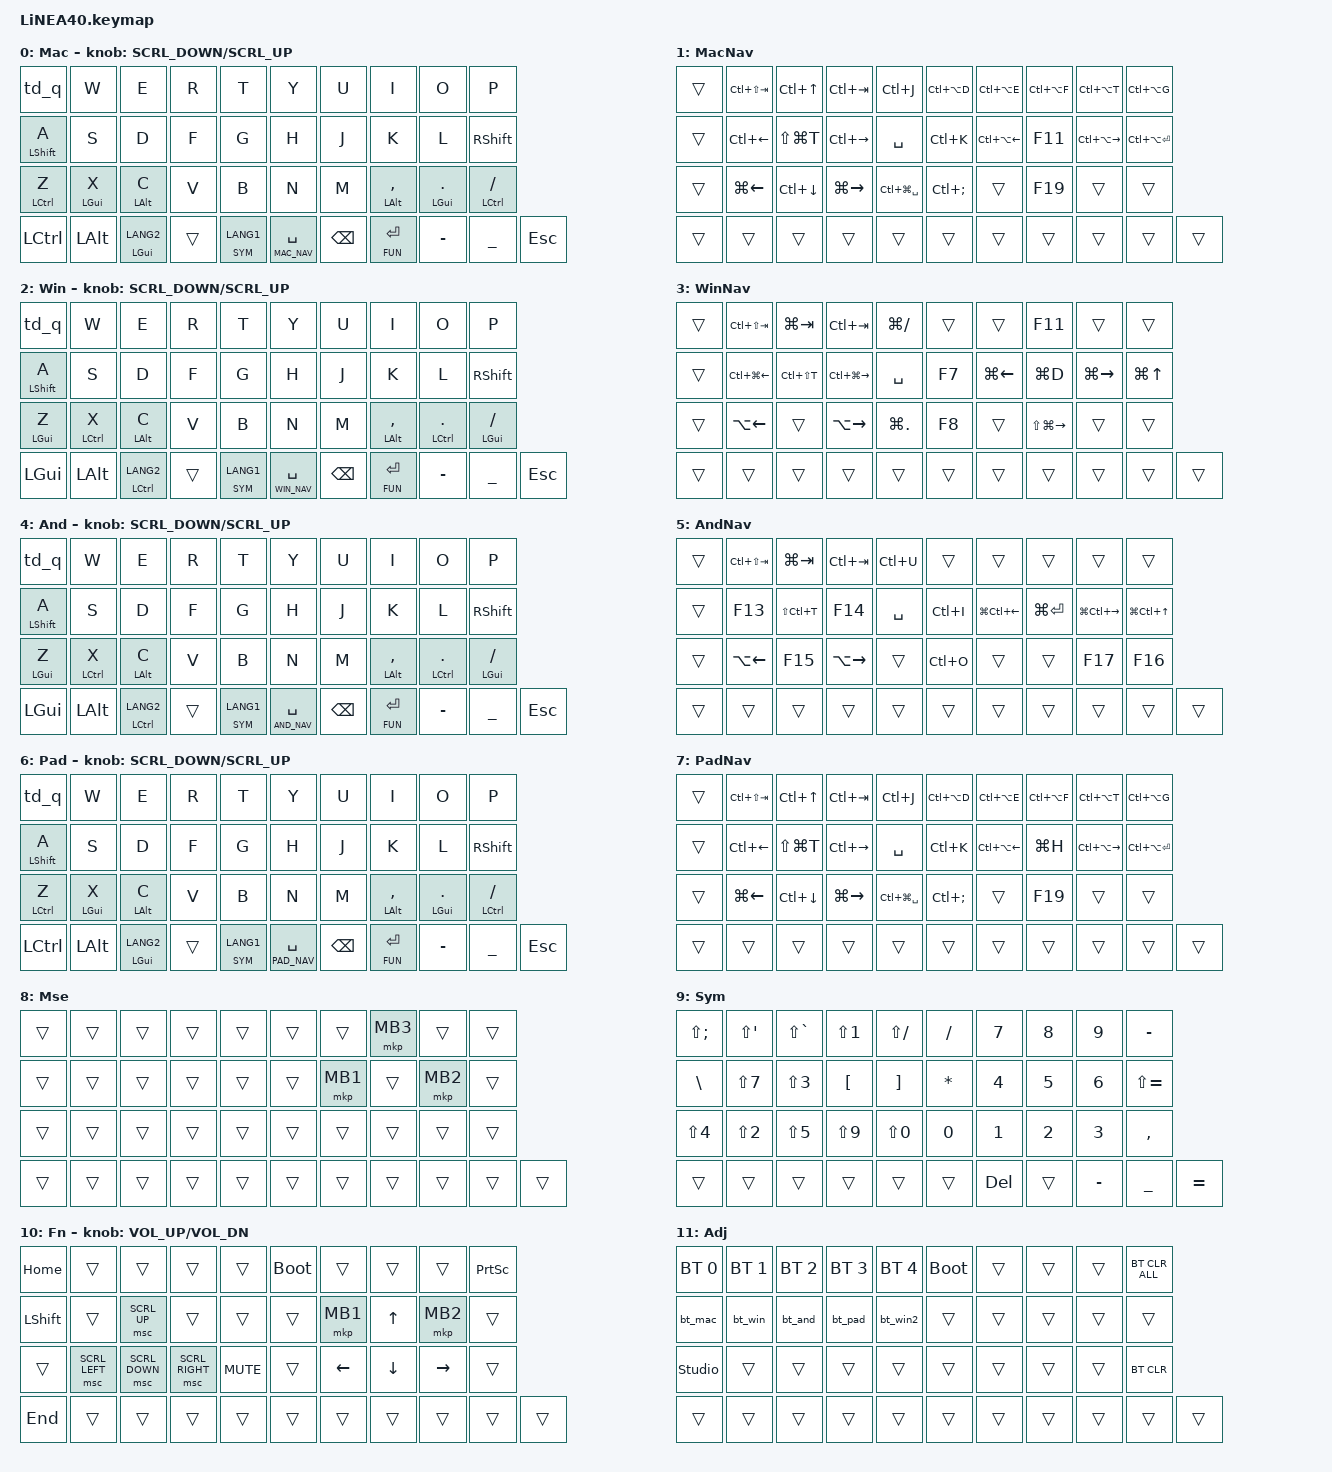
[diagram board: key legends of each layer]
// =====================================================================
// LiNEA40 keymap — Hiro版 v2.0（Aerogu34からの逆移植）
// 移植内容: AML（自動マウスレイヤー・クリックで延命）／A長押しShift／
//   下段ホールドMod（OS別GUI⇔Ctrl）／Qダブルタップ=Esc／J+K=かな／,+.=Aqua Voice
// 清算: 旧デフォルト由来の#define残骸・使っていないコンボ・
//   意図しないレイヤー番号参照（スクロール3倍速/And層スクロール化）を全廃
// レイヤー番号は必ず下のdefineで参照する（番号直書き禁止）
// =====================================================================

#define ZMK_POINTING_DEFAULT_SCRL_VAL 150

#include <dt-bindings/zmk/input_transform.h>
#include <input/processors.dtsi>
#include <zephyr/dt-bindings/input/input-event-codes.h>
#include <behaviors.dtsi>
#include <dt-bindings/zmk/bt.h>
#include <dt-bindings/zmk/keys.h>
#include <dt-bindings/zmk/pointing.h>

// ---- レイヤー定義（唯一の正） ----
#define MAC      0
#define MAC_NAV  1
#define WIN      2
#define WIN_NAV  3
#define AND      4
#define AND_NAV  5
#define PAD      6
#define PAD_NAV  7
#define MSE      8   // 自動マウスレイヤー（AML）※必ずSYMより小さい番号にすること
                     //   （PMW3610ドライバのスクロール判定は「最上位レイヤー」を見るため、
                     //    AMLがSYMより上にあるとスクロール中にAMLが立った瞬間スクロールが解除される）
#define SYM      9   // 記号＋テンキー（かなホールド。トラボはスクロール化=右overlayのscroll-layersと連動）
#define FUN      10
#define ADJ      11  // SYM+FUN同時押しで出現

// ---- キー位置（hold-trigger用） ----
//  0  1  2  3  4   |   5  6  7  8  9
// 10 11 12 13 14   |  15 16 17 18 19
// 20 21 22 23 24   |  25 26 27 28 29
// 30 31 32 33 34 35 | 36 37 | 38 39 40
#define KEYS_L 0 1 2 3 4 10 11 12 13 14 20 21 22 23 24
#define KEYS_R 5 6 7 8 9 15 16 17 18 19 25 26 27 28 29
#define THUMBS_L 30 31 32 33 34 35
#define THUMBS_R 36 37 38 39 40

// マウスカーソル（キー操作エミュレーション用・従来設定を踏襲）
&mmv {
    delay-ms = <20>;
    trigger-period-ms = <5>;
    time-to-max-speed-ms = <100>;
    acceleration-exponent = <2>;
};

// マウススクロール（Funcレイヤーのスクロールキー用・従来設定を踏襲）
&msc {
    delay-ms = <3>;
    trigger-period-ms = <3>;
    time-to-max-speed-ms = <100>;
    acceleration-exponent = <0>;
};

// レイヤータップ: タップ→即ホールドでキーリピート（Aerogu34と同一）
&lt { quick-tap-ms = <300>; };

// ---- AML（Aerogu34 v1.6と同方式） ----
// クリック3キー（7=I/MB3, 16=J/MB1, 18=L/MB2）はレイヤーを解除しない。
// タイピング直後150msは玉が動いてもAMLを発動しない
&zip_temp_layer {
    excluded-positions = <7 16 18>;
    require-prior-idle-ms = <150>;
};

// クリック（&mkp）のイベントもtemp layerに流す＝クリックのたびに寿命400ms再装填
&mkp_input_listener {
    input-processors = <&zip_temp_layer MSE 400>;
};

/ {
    behaviors {
        re_kp: sensor_rotate_kp {
            compatible = "zmk,behavior-sensor-rotate-var";
            #sensor-binding-cells = <2>;
            bindings = <&kp>, <&kp>;
        };

        mouse_scrl: mouse_wheel_scrl {
            compatible = "zmk,behavior-sensor-rotate-var";
            #sensor-binding-cells = <2>;
            bindings = <&msc>, <&msc>;

            tap-ms = <20>;
        };

        // 左手用ホールドMod（A長押しShift・Z/X/C）— Aerogu34と同一チューニング
        hml: homerow_mod_left {
            compatible = "zmk,behavior-hold-tap";
            #binding-cells = <2>;
            flavor = "balanced";
            tapping-term-ms = <280>;
            quick-tap-ms = <175>;
            require-prior-idle-ms = <150>;
            hold-trigger-key-positions = <KEYS_R THUMBS_R>;
            hold-trigger-on-release;
            bindings = <&kp>, <&kp>;
        };

        // Z専用（tap-preferred）: Mozcのz+h/j/k/l入力を守る — Aerogu34と同一
        hml_tp: homerow_mod_left_tap_pref {
            compatible = "zmk,behavior-hold-tap";
            #binding-cells = <2>;
            flavor = "tap-preferred";
            tapping-term-ms = <280>;
            quick-tap-ms = <175>;
            require-prior-idle-ms = <150>;
            hold-trigger-key-positions = <KEYS_R THUMBS_R>;
            bindings = <&kp>, <&kp>;
        };

        // 右手用ホールドMod（,/./スラッシュ）— Aerogu34と同一チューニング
        hmr: homerow_mod_right {
            compatible = "zmk,behavior-hold-tap";
            #binding-cells = <2>;
            flavor = "balanced";
            tapping-term-ms = <280>;
            quick-tap-ms = <175>;
            require-prior-idle-ms = <150>;
            hold-trigger-key-positions = <KEYS_L THUMBS_L>;
            hold-trigger-on-release;
            bindings = <&kp>, <&kp>;
        };

        // Q = 1回タップでQ、素早く2回タップでEsc — Aerogu34と同一
        td_q: tap_dance_q_esc {
            compatible = "zmk,behavior-tap-dance";
            #binding-cells = <0>;
            tapping-term-ms = <200>;
            bindings = <&kp Q>, <&kp ESC>;
        };
    };

    combos {
        compatible = "zmk,combos";

        // S+D = Tab（従来から継続）
        tab {
            bindings = <&kp TAB>;
            key-positions = <11 12>;
            layers = <MAC WIN AND PAD>;
        };

        // J+K = かな（Aerogu34と同ジェスチャー。物理かなキーも従来通り使える）
        kana {
            bindings = <&kp LANG1>;
            key-positions = <16 17>;
            layers = <MAC WIN AND PAD>;
        };

        // カンマ+ピリオド = Alt+Space（Aqua Voiceハンズフリー・Aerogu34と同ジェスチャー）
        aqua_handsfree {
            bindings = <&kp RA(SPACE)>;
            key-positions = <27 28>;
            layers = <MAC WIN AND PAD>;
        };

        // −+_ = Alt+Space（LiNEA40従来のAqua Voiceコンボも温存）
        aqua_legacy {
            bindings = <&kp RA(SPACE)>;
            key-positions = <38 39>;
            layers = <MAC WIN AND PAD>;
        };
    };

    macros {
        bt_mac: bt_mac {
            compatible = "zmk,behavior-macro";
            #binding-cells = <0>;
            bindings = <&bt BT_SEL 0>, <&macro_wait_time 200>, <&to MAC>;
            label = "BT_MAC";
        };

        bt_win: bt_win {
            compatible = "zmk,behavior-macro";
            #binding-cells = <0>;
            bindings = <&bt BT_SEL 1>, <&macro_wait_time 200>, <&to WIN>;
            label = "BT_WIN";
        };

        bt_and: bt_and {
            compatible = "zmk,behavior-macro";
            #binding-cells = <0>;
            bindings = <&bt BT_SEL 2>, <&macro_wait_time 200>, <&to AND>;
            label = "BT_AND";
        };

        bt_pad: bt_pad {
            compatible = "zmk,behavior-macro";
            #binding-cells = <0>;
            bindings = <&bt BT_SEL 3>, <&macro_wait_time 200>, <&to PAD>;
            label = "BT_PAD";
        };

        bt_win2: bt_win2 {
            compatible = "zmk,behavior-macro";
            #binding-cells = <0>;
            bindings = <&bt BT_SEL 4>, <&macro_wait_time 200>, <&to WIN>;
            label = "BT_WIN2";
        };
    };

    keymap {
        compatible = "zmk,keymap";

        // ============ 0: Mac ============
        Mac_Base {
            display-name = "Mac";
            bindings = <
&td_q           &kp W         &kp E           &kp R   &kp T        &kp Y          &kp U   &kp I            &kp O          &kp P
&hml LSHFT A    &kp S         &kp D           &kp F   &kp G        &kp H          &kp J   &kp K            &kp L          &kp RSHIFT
&hml_tp LCTRL Z &hml LGUI X   &hml LALT C     &kp V   &kp B        &kp N          &kp M   &hmr LALT COMMA  &hmr LGUI DOT  &hmr LCTRL SLASH
&kp LCTRL  &kp LEFT_ALT  &mt LGUI LANG2  &trans  &lt SYM LANG1  &lt MAC_NAV SPACE    &kp BACKSPACE  &lt FUN ENTER         &kp MINUS  &kp UNDER  &kp ESC
            >;

            sensor-bindings = <&mouse_scrl SCRL_DOWN SCRL_UP>;
        };

        // ============ 1: Mac Nav（中身は従来と同一） ============
        Mac_Nav {
            display-name = "MacNav";
            bindings = <
&trans  &kp LC(LS(TAB))  &kp LC(UP)     &kp LC(TAB)    &kp LC(J)              &kp LC(LA(D))  &kp LC(LA(E))     &kp LC(LA(F))  &kp LC(LA(T))      &kp LC(LA(G))
&trans  &kp LC(LEFT)     &kp LS(LG(T))  &kp LC(RIGHT)  &kp SPACE              &kp LC(K)      &kp LC(LA(LEFT))  &kp F11        &kp LC(LA(RIGHT))  &kp LC(LA(ENTER))
&trans  &kp LG(LEFT)     &kp LC(DOWN)   &kp LG(RIGHT)  &kp LC(LG(SPACE))      &kp LC(SEMI)   &trans            &kp F19        &trans             &trans
&trans  &trans  &trans  &trans  &trans  &trans    &trans  &trans         &trans  &trans  &trans
            >;
        };

        // ============ 2: Windows（下段Mod: GUI⇔Ctrl入替＝主修飾CtrlをMacのCmdと同位置X/.に） ============
        Win_Base {
            display-name = "Win";
            bindings = <
&td_q           &kp W         &kp E            &kp R   &kp T        &kp Y          &kp U   &kp I            &kp O          &kp P
&hml LSHFT A    &kp S         &kp D            &kp F   &kp G        &kp H          &kp J   &kp K            &kp L          &kp RSHIFT
&hml_tp LGUI Z  &hml LCTRL X  &hml LALT C      &kp V   &kp B        &kp N          &kp M   &hmr LALT COMMA  &hmr LCTRL DOT &hmr LGUI SLASH
&kp LGUI   &kp LEFT_ALT  &mt LCTRL LANG2  &trans  &lt SYM LANG1  &lt WIN_NAV SPACE    &kp BACKSPACE  &lt FUN ENTER         &kp MINUS  &kp UNDER  &kp ESC
            >;

            sensor-bindings = <&mouse_scrl SCRL_DOWN SCRL_UP>;
        };

        // ============ 3: Win Nav（中身は従来と同一） ============
        Win_Nav {
            display-name = "WinNav";
            bindings = <
&trans  &kp LC(LS(TAB))   &kp LG(TAB)    &kp LC(TAB)        &kp LG(SLASH)       &trans  &trans        &kp F11            &trans         &trans
&trans  &kp LC(LG(LEFT))  &kp LC(LS(T))  &kp LC(LG(RIGHT))  &kp SPACE           &kp F7  &kp LG(LEFT)  &kp LG(D)          &kp LG(RIGHT)  &kp LG(UP)
&trans  &kp LA(LEFT)      &trans         &kp LA(RIGHT)      &kp LG(PERIOD)      &kp F8  &trans        &kp LS(LG(RIGHT))  &trans         &trans
&trans  &trans  &trans  &trans  &trans  &trans    &trans  &trans         &trans  &trans  &trans
            >;
        };

        // ============ 4: Android（下段ModはWinと同じ入替） ============
        And_Base {
            display-name = "And";
            bindings = <
&td_q           &kp W         &kp E            &kp R   &kp T        &kp Y          &kp U   &kp I            &kp O          &kp P
&hml LSHFT A    &kp S         &kp D            &kp F   &kp G        &kp H          &kp J   &kp K            &kp L          &kp RSHIFT
&hml_tp LGUI Z  &hml LCTRL X  &hml LALT C      &kp V   &kp B        &kp N          &kp M   &hmr LALT COMMA  &hmr LCTRL DOT &hmr LGUI SLASH
&kp LGUI   &kp LEFT_ALT  &mt LCTRL LANG2  &trans  &lt SYM LANG1  &lt AND_NAV SPACE    &kp BACKSPACE  &lt FUN ENTER         &kp MINUS  &kp UNDER  &kp ESC
            >;

            sensor-bindings = <&mouse_scrl SCRL_DOWN SCRL_UP>;
        };

        // ============ 5: And Nav（中身は従来と同一） ============
        And_Nav {
            display-name = "AndNav";
            bindings = <
&trans  &kp LC(LS(TAB))  &kp LG(TAB)    &kp LC(TAB)    &kp LC(U)      &trans     &trans            &trans         &trans             &trans
&trans  &kp F13          &kp LS(LC(T))  &kp F14        &kp SPACE      &kp LC(I)  &kp LG(LC(LEFT))  &kp LG(ENTER)  &kp LG(LC(RIGHT))  &kp LG(LC(UP))
&trans  &kp LA(LEFT)     &kp F15        &kp LA(RIGHT)  &trans         &kp LC(O)  &trans            &trans         &kp F17            &kp F16
&trans  &trans  &trans  &trans  &trans  &trans    &trans  &trans         &trans  &trans  &trans
            >;
        };

        // ============ 6: iPad ============
        Pad_Base {
            display-name = "Pad";
            bindings = <
&td_q           &kp W         &kp E           &kp R   &kp T        &kp Y          &kp U   &kp I            &kp O          &kp P
&hml LSHFT A    &kp S         &kp D           &kp F   &kp G        &kp H          &kp J   &kp K            &kp L          &kp RSHIFT
&hml_tp LCTRL Z &hml LGUI X   &hml LALT C     &kp V   &kp B        &kp N          &kp M   &hmr LALT COMMA  &hmr LGUI DOT  &hmr LCTRL SLASH
&kp LCTRL  &kp LEFT_ALT  &mt LGUI LANG2  &trans  &lt SYM LANG1  &lt PAD_NAV SPACE    &kp BACKSPACE  &lt FUN ENTER         &kp MINUS  &kp UNDER  &kp ESC
            >;

            sensor-bindings = <&mouse_scrl SCRL_DOWN SCRL_UP>;
        };

        // ============ 7: Pad Nav（中身は従来と同一） ============
        Pad_Nav {
            display-name = "PadNav";
            bindings = <
&trans  &kp LC(LS(TAB))  &kp LC(UP)     &kp LC(TAB)    &kp LC(J)              &kp LC(LA(D))  &kp LC(LA(E))     &kp LC(LA(F))  &kp LC(LA(T))      &kp LC(LA(G))
&trans  &kp LC(LEFT)     &kp LS(LG(T))  &kp LC(RIGHT)  &kp SPACE              &kp LC(K)      &kp LC(LA(LEFT))  &kp LG(H)      &kp LC(LA(RIGHT))  &kp LC(LA(ENTER))
&trans  &kp LG(LEFT)     &kp LC(DOWN)   &kp LG(RIGHT)  &kp LC(LG(SPACE))      &kp LC(SEMI)   &trans            &kp F19        &trans             &trans
&trans  &trans  &trans  &trans  &trans  &trans    &trans  &trans         &trans  &trans  &trans
            >;
        };

        // ============ 8: Mouse（AML・玉を動かすと自動有効） ============
        // 最小構成: I=中クリック・J=左クリック・L=右クリックのみ（Aerogu34と同一）
        Mouse {
            display-name = "Mse";
            bindings = <
&trans  &trans  &trans  &trans  &trans      &trans  &trans    &mkp MB3  &trans    &trans
&trans  &trans  &trans  &trans  &trans      &trans  &mkp MB1  &trans    &mkp MB2  &trans
&trans  &trans  &trans  &trans  &trans      &trans  &trans    &trans    &trans    &trans
&trans  &trans  &trans  &trans  &trans  &trans    &trans  &trans         &trans  &trans  &trans
            >;
        };

        // ============ 9: 記号＋テンキー（従来と同一。MB5のみ廃止） ============
        // ホールド中はトラボがスクロール（右overlayのscroll-layers=<8>と連動）
        SymNum {
            display-name = "Sym";
            bindings = <
&kp LS(SEMI)  &kp LS(APOS)  &kp LS(GRAVE)  &kp LS(N1)  &kp LS(FSLH)      &kp SLASH  &kp N7  &kp N8  &kp N9  &kp MINUS
&kp BSLH      &kp LS(N7)    &kp LS(N3)     &kp LBKT    &kp RBKT          &kp ASTRK  &kp N4  &kp N5  &kp N6  &kp LS(EQUAL)
&kp LS(N4)    &kp LS(N2)    &kp LS(N5)     &kp LS(N9)  &kp LS(N0)        &kp N0     &kp N1  &kp N2  &kp N3  &kp COMMA
&trans  &trans  &trans  &trans  &trans  &trans    &kp DEL  &trans         &kp MINUS  &kp UNDER  &kp EQUAL
            >;
        };

        // ============ 10: Func（従来と同一） ============
        Func {
            display-name = "Fn";
            bindings = <
&kp HOME    &trans           &trans           &trans            &trans            &bootloader  &trans    &trans    &trans     &kp PRINTSCREEN
&kp LSHIFT  &trans           &msc SCRL_UP     &trans            &trans            &trans       &mkp MB1  &kp UP    &mkp MB2   &trans
&trans      &msc SCRL_LEFT   &msc SCRL_DOWN   &msc SCRL_RIGHT   &kp K_MUTE        &trans       &kp LEFT  &kp DOWN  &kp RIGHT  &trans
&kp END  &trans  &trans  &trans  &trans  &trans    &trans  &trans         &trans  &trans  &trans
            >;

            sensor-bindings = <&inc_dec_kp C_VOL_UP C_VOL_DN>;
        };

        // ============ 11: Adjust（SYM+FUN同時押し。studio_unlockをZ位置に追加） ============
        Adjust {
            display-name = "Adj";
            bindings = <
&bt BT_SEL 0    &bt BT_SEL 1  &bt BT_SEL 2  &bt BT_SEL 3  &bt BT_SEL 4      &bootloader  &trans  &trans  &trans  &bt BT_CLR_ALL
&bt_mac         &bt_win       &bt_and       &bt_pad       &bt_win2          &trans       &trans  &trans  &trans  &trans
&studio_unlock  &trans        &trans        &trans        &trans            &trans       &trans  &trans  &trans  &bt BT_CLR
&trans  &trans  &trans  &trans  &trans  &trans    &trans  &trans         &trans  &trans  &trans
            >;
        };

    };

    conditional_layers {
        compatible = "zmk,conditional-layers";

        adjust {
            if-layers = <SYM FUN>;
            then-layer = <ADJ>;
        };
    };
};
